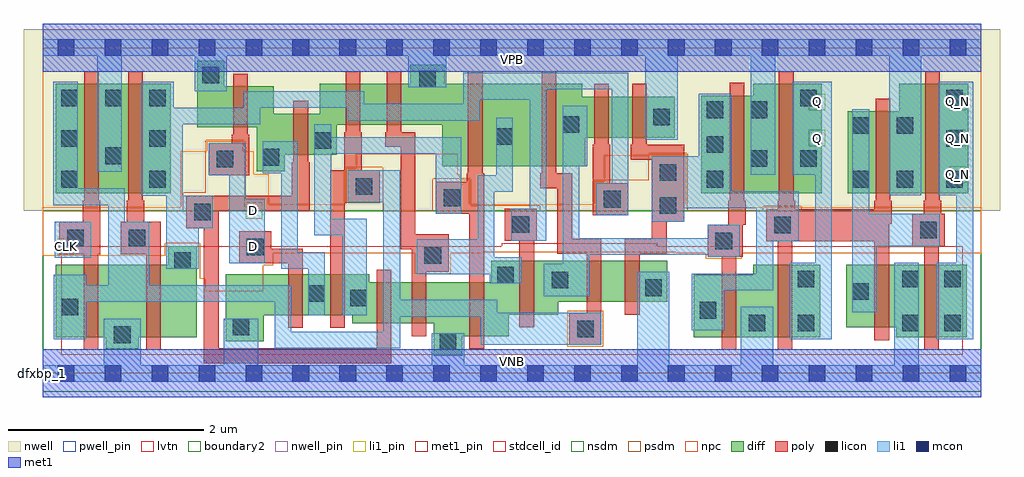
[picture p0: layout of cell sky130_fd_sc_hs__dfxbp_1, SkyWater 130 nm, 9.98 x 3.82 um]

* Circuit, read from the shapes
.subckt sky130_fd_sc_hs__dfxbp_1 CLK D Q Q_N VGND VNB VPB VPWR
XM1 VGND CLK n1 VNB sky130_fd_pr__nfet_01v8_lvt w=0.74 l=0.15
XM2 n2 n1 VGND VNB sky130_fd_pr__nfet_01v8_lvt w=0.74 l=0.15
XM3 n3 D VGND VNB sky130_fd_pr__nfet_01v8_lvt w=0.42 l=0.15
XM4 n4 n1 n3 VNB sky130_fd_pr__nfet_01v8_lvt w=0.42 l=0.15
XM5 n5 n2 n4 VNB sky130_fd_pr__nfet_01v8_lvt w=0.42 l=0.15
XM6 VGND n6 n5 VNB sky130_fd_pr__nfet_01v8_lvt w=0.42 l=0.15
XM7 n6 n4 VGND VNB sky130_fd_pr__nfet_01v8_lvt w=0.55 l=0.15
XM8 n7 n2 n6 VNB sky130_fd_pr__nfet_01v8_lvt w=0.55 l=0.15
XM9 n8 n1 n7 VNB sky130_fd_pr__nfet_01v8_lvt w=0.42 l=0.15
XM10 VGND n9 n8 VNB sky130_fd_pr__nfet_01v8_lvt w=0.42 l=0.15
XM11 VGND n7 n9 VNB sky130_fd_pr__nfet_01v8_lvt w=0.64 l=0.15
XM12 Q n9 VGND VNB sky130_fd_pr__nfet_01v8_lvt w=0.74 l=0.15
XM13 VGND n9 n10 VNB sky130_fd_pr__nfet_01v8_lvt w=0.64 l=0.15
XM14 Q_N n10 VGND VNB sky130_fd_pr__nfet_01v8_lvt w=0.74 l=0.15
XM15 VPWR CLK n1 VPB sky130_fd_pr__pfet_01v8 w=1.12 l=0.15
XM16 n2 n1 VPWR VPB sky130_fd_pr__pfet_01v8 w=1.12 l=0.15
XM17 n3 D VPWR VPB sky130_fd_pr__pfet_01v8 w=0.42 l=0.15
XM18 n4 n2 n3 VPB sky130_fd_pr__pfet_01v8 w=0.42 l=0.15
XM19 n11 n1 n4 VPB sky130_fd_pr__pfet_01v8 w=0.42 l=0.15
XM20 VPWR n6 n11 VPB sky130_fd_pr__pfet_01v8 w=0.42 l=0.15
XM21 n6 n4 VPWR VPB sky130_fd_pr__pfet_01v8 w=0.84 l=0.15
XM22 n7 n1 n6 VPB sky130_fd_pr__pfet_01v8 w=0.84 l=0.15
XM23 n12 n2 n7 VPB sky130_fd_pr__pfet_01v8 w=0.42 l=0.15
XM24 VPWR n9 n12 VPB sky130_fd_pr__pfet_01v8 w=0.42 l=0.15
XM25 VPWR n7 n9 VPB sky130_fd_pr__pfet_01v8 w=1 l=0.15
XM26 Q n9 VPWR VPB sky130_fd_pr__pfet_01v8 w=1.12 l=0.15
XM27 VPWR n9 n10 VPB sky130_fd_pr__pfet_01v8 w=0.84 l=0.15
XM28 Q_N n10 VPWR VPB sky130_fd_pr__pfet_01v8 w=1.12 l=0.15
.ends

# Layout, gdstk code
import gdstk
lib = gdstk.Library(unit=1e-6, precision=1e-09)
def R(c, l, rs):  # rectangles x0, y0, x1, y1
    for r in rs: c.add(gdstk.rectangle(r[:2], r[2:], *l))
def A(c, l, x, y, w, h, nx, ny, dx, dy):  # array of equal rectangles
    R(c, l, [(x+i*dx, y+j*dy, x+i*dx+w, y+j*dy+h) for i in range(nx) for j in range(ny)])
def P(c, l, *ps):  # polygons
    for p in ps: c.add(gdstk.Polygon(p, *l))
nwell_pin = (64, 16)
nwell = (64, 20)
diff = (65, 20)
poly = (66, 20)
licon = (66, 44)
li1_pin = (67, 16)
li1 = (67, 20)
mcon = (67, 44)
met1_pin = (68, 16)
met1 = (68, 20)
stdcell_id = (81, 4)
nsdm = (93, 44)
psdm = (94, 20)
npc = (95, 20)
pwell_pin = (122, 16)
lvtn = (125, 44)
boundary2 = (236, 0)

sky130_fd_sc_hs__dfxbp_1 = lib.new_cell('sky130_fd_sc_hs__dfxbp_1')
R(sky130_fd_sc_hs__dfxbp_1, nwell_pin, [(0,3.085,9.6,3.33)])
R(sky130_fd_sc_hs__dfxbp_1, nwell, [(-0.19,1.66,9.79,3.52)])
R(sky130_fd_sc_hs__dfxbp_1, diff, [(0.135,1.84,1.31,2.96)])
P(sky130_fd_sc_hs__dfxbp_1, diff, [(1.575,1.3),(1.285,1.3),(1.285,1.11),(0.135,1.11),(0.135,0.37),(0.645,0.37),(0.645,0.25),(0.985,0.25),(0.985,0.37),(1.575,0.37)],
  [(6.39,1.15),(4.59,1.15),(4.59,0.93),(3.34,0.93),(3.34,1.015),(1.875,1.015),(1.875,0.33),(2.26,0.33),(2.26,0.595),(3.165,0.595),(3.165,0.51),(4,0.51),(4,0.18),(4.29,0.18),(4.29,0.38),(4.765,0.38),(4.765,0.6),(5.275,0.6),(5.275,0.73),(6.39,0.73)],
  [(6.465,2.83),(5.52,2.83),(5.52,2.96),(4.11,2.96),(4.11,3.155),(3.76,3.155),(3.76,2.96),(2.835,2.96),(2.835,2.655),(2.365,2.655),(2.365,2.935),(1.86,2.935),(1.86,3.195),(1.58,3.195),(1.58,2.515),(2.19,2.515),(2.19,2.065),(2.475,2.065),(2.475,2.235),(3.01,2.235),(3.01,2.54),(4.085,2.54),(4.085,2.12),(5.55,2.12),(5.55,2.41),(6.465,2.41)],
  [(7.95,1.11),(7.265,1.11),(7.265,1.01),(6.66,1.01),(6.66,0.37),(7.95,0.37)],
  [(7.965,2.96),(7.265,2.96),(7.265,2.84),(6.735,2.84),(6.735,1.84),(7.965,1.84)],
  [(9.45,1.11),(8.22,1.11),(8.22,0.47),(8.73,0.47),(8.73,0.37),(9.45,0.37)],
  [(9.465,2.96),(8.76,2.96),(8.76,2.68),(8.235,2.68),(8.235,1.84),(9.465,1.84)])
P(sky130_fd_sc_hs__dfxbp_1, poly, [(5.99,1.945),(5.805,1.945),(5.805,2.335),(5.79,2.335),(5.79,2.96),(5.64,2.96),(5.64,2.335),(5.625,2.335),(5.625,1.615),(5.99,1.615)],
  [(6.56,2.335),(6.18,2.335),(6.18,2.96),(6.03,2.96),(6.03,2.335),(6.015,2.335),(6.015,2.185),(6.23,2.185),(6.23,1.375),(5.955,1.375),(5.955,0.6),(6.105,0.6),(6.105,1.225),(6.38,1.225),(6.38,1.55),(6.56,1.55)],
  [(7.19,1.765),(7.175,1.765),(7.175,2.97),(7.025,2.97),(7.025,1.765),(7.01,1.765),(7.01,1.52),(6.8,1.52),(6.8,1.19),(6.945,1.19),(6.945,0.24),(7.095,0.24),(7.095,1.19),(7.16,1.19),(7.16,1.52),(7.19,1.52)],
  [(8.685,1.765),(8.67,1.765),(8.67,2.81),(8.52,2.81),(8.52,1.765),(8.505,1.765),(8.505,1.68),(7.695,1.68),(7.695,1.765),(7.68,1.765),(7.68,3.09),(7.53,3.09),(7.53,1.765),(7.515,1.765),(7.515,1.68),(7.4,1.68),(7.4,1.35),(7.515,1.35),(7.515,0.24),(7.665,0.24),(7.665,1.35),(8.505,1.35),(8.505,0.34),(8.655,0.34),(8.655,1.53),(8.685,1.53)],
  [(9.225,1.63),(9.19,1.63),(9.19,1.765),(9.175,1.765),(9.175,3.09),(9.025,3.09),(9.025,1.765),(9.01,1.765),(9.01,1.63),(8.895,1.63),(8.895,1.3),(9.015,1.3),(9.015,0.24),(9.165,0.24),(9.165,1.3),(9.225,1.3)],
  [(0.59,1.765),(0.575,1.765),(0.575,3.09),(0.425,3.09),(0.425,1.765),(0.41,1.765),(0.41,1.55),(0.17,1.55),(0.17,1.22),(0.42,1.22),(0.42,0.24),(0.57,0.24),(0.57,1.22),(0.59,1.22)],
  [(1.21,1.55),(1.04,1.55),(1.04,1.765),(1.025,1.765),(1.025,3.09),(0.875,3.09),(0.875,1.765),(0.86,1.765),(0.86,1.55),(0.8,1.55),(0.8,1.22),(1.06,1.22),(1.06,0.24),(1.21,0.24)],
  [(2.115,2.44),(2.1,2.44),(2.1,3.065),(1.95,3.065),(1.95,2.44),(1.935,2.44),(1.935,2.355),(1.7,2.355),(1.7,2.025),(2.115,2.025)],
  [(2.66,1.275),(2.34,1.275),(2.34,1.455),(2.01,1.455),(2.01,1.125),(2.51,1.125),(2.51,0.465),(2.66,0.465)],
  [(3.45,2.075),(3.265,2.075),(3.265,2.465),(3.25,2.465),(3.25,3.09),(3.1,3.09),(3.1,2.465),(3.085,2.465),(3.085,2.075),(2.94,2.075),(2.94,0.465),(3.09,0.465),(3.09,1.745),(3.45,1.745)],
  [(3.565,1.06),(3.415,1.06),(3.415,0.255),(1.8,0.255),(1.8,1.665),(2.73,1.665),(2.73,2.16),(2.715,2.16),(2.715,2.785),(2.565,2.785),(2.565,2.16),(2.55,2.16),(2.55,1.815),(1.47,1.815),(1.47,1.485),(1.65,1.485),(1.65,0.105),(3.565,0.105)],
  [(4.155,1.42),(3.81,1.42),(3.81,2.465),(3.67,2.465),(3.67,3.09),(3.52,3.09),(3.52,2.465),(3.505,2.465),(3.505,2.315),(3.66,2.315),(3.66,1.27),(3.775,1.27),(3.775,0.38),(3.925,0.38),(3.925,1.04),(4.155,1.04)],
  [(4.515,2.045),(4.5,2.045),(4.5,3.09),(4.35,3.09),(4.35,2.045),(4.335,2.045),(4.335,1.96),(4.02,1.96),(4.02,1.63),(4.365,1.63),(4.365,0.25),(4.515,0.25)],
  [(5.055,1.685),(4.725,1.685),(4.725,1.355),(4.875,1.355),(4.875,0.47),(5.025,0.47),(5.025,1.355),(5.055,1.355)],
  [(5.715,1.375),(5.415,1.375),(5.415,2.045),(5.255,2.045),(5.255,3.09),(5.105,3.09),(5.105,2.045),(5.09,2.045),(5.09,1.895),(5.265,1.895),(5.265,1.225),(5.565,1.225),(5.565,0.62),(5.385,0.62),(5.385,0.29),(5.715,0.29)])
A(sky130_fd_sc_hs__dfxbp_1, licon, 6.79, 1.9, 0.17, 0.17, 1, 3, 0, 0.355)
A(sky130_fd_sc_hs__dfxbp_1, licon, 9.24, 1.9, 0.17, 0.17, 1, 3, 0, 0.415)
A(sky130_fd_sc_hs__dfxbp_1, licon, 0.19, 2.73, 0.17, 0.17, 3, 1, 0.45, 0)
R(sky130_fd_sc_hs__dfxbp_1, licon, [(4.06,0.24,4.23,0.41), (0.73,0.31,0.9,0.48), (5.465,0.37,5.635,0.54), (1.945,0.39,2.115,0.56), (7.22,0.43,7.39,0.6), (7.72,0.43,7.89,0.6), (8.79,0.43,8.96,0.6), (9.22,0.43,9.39,0.6), (6.72,0.56,6.89,0.73), (0.195,0.595,0.365,0.765), (3.145,0.685,3.315,0.855), (2.715,0.73,2.885,0.9), (8.28,0.75,8.45,0.92), (6.16,0.79,6.33,0.96), (5.205,0.87,5.375,1.04), (7.72,0.88,7.89,1.05), (8.79,0.88,8.96,1.05), (9.22,0.88,9.39,1.05), (4.65,0.92,4.82,1.09), (1.345,1.07,1.515,1.24), (3.905,1.12,4.075,1.29), (2.09,1.205,2.26,1.375), (6.88,1.27,7.05,1.44), (0.25,1.3,0.42,1.47), (0.88,1.3,1.05,1.47), (8.975,1.38,9.145,1.55), (7.48,1.43,7.65,1.6), (4.805,1.435,4.975,1.605), (1.55,1.565,1.72,1.735), (6.31,1.63,6.48,1.8), (5.74,1.695,5.91,1.865), (4.1,1.71,4.27,1.88), (3.2,1.825,3.37,1.995), (0.19,1.9,0.36,2.07), (1.09,1.9,1.26,2.07), (8.285,1.9,8.455,2.07), (8.735,1.9,8.905,2.07), (6.31,1.97,6.48,2.14), (1.78,2.105,1.95,2.275), (7.24,2.11,7.41,2.28), (7.745,2.11,7.915,2.28), (2.25,2.125,2.42,2.295), (0.64,2.14,0.81,2.31), (2.78,2.295,2.95,2.465), (0.19,2.315,0.36,2.485), (1.09,2.315,1.26,2.485), (4.64,2.335,4.81,2.505), (8.285,2.45,8.455,2.62), (8.735,2.45,8.905,2.62), (5.32,2.46,5.49,2.63), (6.245,2.535,6.415,2.705), (7.24,2.61,7.41,2.78), (7.745,2.73,7.915,2.9), (3.85,2.925,4.02,3.095), (1.635,2.965,1.805,3.135)])
A(sky130_fd_sc_hs__dfxbp_1, li1_pin, 9.275, 1.95, 0.17, 0.17, 1, 3, 0, 0.37)
R(sky130_fd_sc_hs__dfxbp_1, li1_pin, [(0.155,1.21,0.325,1.38), (2.075,1.21,2.245,1.38), (2.075,1.58,2.245,1.75), (7.835,2.32,8.005,2.49), (7.835,2.69,8.005,2.86)])
R(sky130_fd_sc_hs__dfxbp_1, li1, [(0.125,1.18,0.5,1.55)])
P(sky130_fd_sc_hs__dfxbp_1, li1, [(0,-0.085),(0,0.085),(0.625,0.085),(0.625,0.56),(1.005,0.56),(1.005,0.085),(1.855,0.085),(1.855,0.56),(2.205,0.56),(2.205,0.085),(3.98,0.085),(3.98,0.41),(4.31,0.41),(4.31,0.085),(6.08,0.085),(6.08,1.04),(6.41,1.04),(6.41,0.085),(7.14,0.085),(7.14,0.68),(7.47,0.68),(7.47,0.085),(8.71,0.085),(8.71,1.13),(8.96,1.13),(8.96,0.085),(9.6,0.085),(9.6,-0.085)],
  [(0,3.245),(0,3.415),(9.6,3.415),(9.6,3.245),(8.985,3.245),(8.985,1.82),(8.655,1.82),(8.655,3.245),(7.49,3.245),(7.49,2.03),(7.24,2.03),(7.24,3.245),(6.495,3.245),(6.495,2.39),(6.165,2.39),(6.165,3.245),(4.13,3.245),(4.13,2.925),(3.74,2.925),(3.74,3.245),(1.885,3.245),(1.885,2.885),(1.555,2.885),(1.555,3.245),(0.81,3.245),(0.81,2.06),(0.56,2.06),(0.56,3.245)],
  [(2.08,1.78),(2.27,1.78),(2.27,1.125),(1.91,1.125),(1.91,2.025),(1.7,2.025),(1.7,2.355),(2.08,2.355)],
  [(7.665,2.03),(7.665,2.98),(8.07,2.98),(8.07,0.35),(7.64,0.35),(7.64,1.13),(7.9,1.13),(7.9,2.03)],
  [(9.16,1.82),(9.16,2.98),(9.515,2.98),(9.515,0.35),(9.14,0.35),(9.14,1.13),(9.345,1.13),(9.345,1.82)],
  [(1.01,1.815),(1.01,2.98),(1.34,2.98),(1.34,2.715),(2.055,2.715),(2.055,2.885),(3.29,2.885),(3.29,2.755),(4.3,2.755),(4.3,3.075),(5.99,3.075),(5.99,1.615),(5.66,1.615),(5.66,1.945),(5.82,1.945),(5.82,2.905),(5.15,2.905),(5.15,1.355),(4.79,1.355),(4.79,1.685),(4.98,1.685),(4.98,2.8),(4.47,2.8),(4.47,2.585),(3.12,2.585),(3.12,2.715),(2.225,2.715),(2.225,2.545),(1.435,2.545),(1.435,1.815),(1.74,1.815),(1.74,1.485),(1.595,1.485),(1.595,1.07),(1.265,1.07),(1.265,1.815)],
  [(2.95,2.415),(4.28,2.415),(4.28,1.63),(4.02,1.63),(4.02,2.245),(2.95,2.245),(2.95,1.58),(3.315,1.58),(3.315,0.595),(3.065,0.595),(3.065,1.41),(2.78,1.41),(2.78,2.545),(2.95,2.545)],
  [(5.715,0.62),(4.65,0.62),(4.65,0.75),(3.655,0.75),(3.655,2.075),(3.12,2.075),(3.12,1.75),(3.485,1.75),(3.485,0.425),(2.545,0.425),(2.545,0.9),(1.09,0.9),(1.09,1.55),(0.84,1.55),(0.84,1.89),(0.36,1.89),(0.36,2.98),(0.11,2.98),(0.11,1.72),(0.67,1.72),(0.67,0.9),(0.445,0.9),(0.445,1.01),(0.115,1.01),(0.115,0.35),(0.445,0.35),(0.445,0.73),(2.375,0.73),(2.375,0.255),(3.655,0.255),(3.655,0.58),(4.48,0.58),(4.48,0.29),(5.715,0.29)],
  [(8.28,0.625),(8.28,2.7),(8.455,2.7),(8.455,1.63),(9.175,1.63),(9.175,1.3),(8.53,1.3),(8.53,0.625)],
  [(7.47,0.85),(6.97,0.85),(6.97,0.44),(6.64,0.44),(6.64,1.02),(7.3,1.02),(7.3,1.69),(6.56,1.69),(6.56,1.55),(6.23,1.55),(6.23,2.22),(6.71,2.22),(6.71,2.86),(7.04,2.86),(7.04,1.86),(7.73,1.86),(7.73,1.35),(7.47,1.35)],
  [(5.32,1.12),(5.32,2.735),(5.57,2.735),(5.57,2.115),(5.49,2.115),(5.49,1.38),(6.8,1.38),(6.8,1.52),(7.13,1.52),(7.13,1.19),(6.8,1.19),(6.8,1.21),(5.59,1.21),(5.59,0.79),(5.125,0.79),(5.125,1.12)],
  [(2.44,2.045),(2.25,2.045),(2.25,2.375),(2.61,2.375),(2.61,1.24),(2.885,1.24),(2.885,0.595),(2.715,0.595),(2.715,1.07),(2.44,1.07)],
  [(3.825,1.015),(3.825,1.37),(4.45,1.37),(4.45,2.025),(4.64,2.025),(4.64,2.615),(4.81,2.615),(4.81,1.855),(4.62,1.855),(4.62,1.185),(4.9,1.185),(4.9,0.92),(4.57,0.92),(4.57,1.015)])
A(sky130_fd_sc_hs__dfxbp_1, mcon, 0.155, -0.085, 0.17, 0.17, 20, 2, 0.48, 3.33)
R(sky130_fd_sc_hs__dfxbp_1, met1_pin, [(0,0,9.6,0.245), (0,3.085,9.6,3.33)])
R(sky130_fd_sc_hs__dfxbp_1, met1, [(0,-0.245,9.6,0.245), (0,3.085,9.6,3.575)])
R(sky130_fd_sc_hs__dfxbp_1, stdcell_id, [(0,0,9.6,3.33)])
R(sky130_fd_sc_hs__dfxbp_1, nsdm, [(0,-0.19,9.6,1.66)])
P(sky130_fd_sc_hs__dfxbp_1, psdm, [(9.6,3.52),(0,3.52),(0,1.66),(1.44,1.66),(1.44,1.845),(1.67,1.845),(1.67,2.385),(2.06,2.385),(2.06,1.66),(3.09,1.66),(3.09,2.105),(3.48,2.105),(3.48,1.66),(3.99,1.66),(3.99,1.99),(4.38,1.99),(4.38,1.715),(5.085,1.715),(5.085,1.66),(5.63,1.66),(5.63,1.975),(6.2,1.975),(6.2,2.25),(6.59,2.25),(6.59,1.66),(7.37,1.66),(7.37,1.71),(7.76,1.71),(7.76,1.66),(9.6,1.66)])
R(sky130_fd_sc_hs__dfxbp_1, npc, [(5.365,0.27,5.735,0.64)])
P(sky130_fd_sc_hs__dfxbp_1, npc, [(9.6,1.7),(6.595,1.7),(6.595,1.73),(6.58,1.73),(6.58,2.24),(6.21,2.24),(6.21,2.23),(5.745,2.23),(5.745,1.965),(5.64,1.965),(5.64,1.73),(4.37,1.73),(4.37,1.98),(4.265,1.98),(4.265,2.03),(4.245,2.03),(4.245,2.245),(3.205,2.245),(3.205,2.095),(3.1,2.095),(3.1,1.73),(2.315,1.73),(2.315,2.035),(2.16,2.035),(2.16,2.27),(2.05,2.27),(2.05,2.375),(1.68,2.375),(1.68,2.27),(1.415,2.27),(1.415,1.7),(0,1.7),(0,1.2),(1.255,1.2),(1.255,1.33),(1.605,1.33),(1.605,0.965),(1.665,0.965),(1.665,0.84),(2.255,0.84),(2.255,1.105),(2.36,1.105),(2.36,1.23),(3.805,1.23),(3.805,1.02),(4.175,1.02),(4.175,1.23),(4.5,1.23),(4.5,1.24),(6.48,1.24),(6.48,1.23),(6.78,1.23),(6.78,1.17),(7.15,1.17),(7.15,1.23),(9.6,1.23)])
R(sky130_fd_sc_hs__dfxbp_1, pwell_pin, [(0,0,9.6,0.245)])
P(sky130_fd_sc_hs__dfxbp_1, lvtn, [(9.41,1.3),(6.285,1.3),(6.285,1.33),(4.695,1.33),(4.695,1.3),(0.19,1.3),(0.19,0.19),(9.41,0.19)])
R(sky130_fd_sc_hs__dfxbp_1, boundary2, [(0,0,9.6,3.33)])
sky130_fd_sc_hs__dfxbp_1.add(gdstk.Label('dfxbp_1', (0,0), layer=83, texttype=44))
sky130_fd_sc_hs__dfxbp_1.add(gdstk.Label('VNB', (4.8,0.123), layer=64, texttype=59))
sky130_fd_sc_hs__dfxbp_1.add(gdstk.Label('VPB', (4.8,3.208), layer=64, texttype=5))
sky130_fd_sc_hs__dfxbp_1.add(gdstk.Label('VPWR', (4.8,3.208), layer=68, texttype=5))
sky130_fd_sc_hs__dfxbp_1.add(gdstk.Label('VGND', (4.8,0.123), layer=68, texttype=5))
sky130_fd_sc_hs__dfxbp_1.add(gdstk.Label('D', (2.16,1.295), layer=67, texttype=5))
sky130_fd_sc_hs__dfxbp_1.add(gdstk.Label('D', (2.16,1.665), layer=67, texttype=5))
sky130_fd_sc_hs__dfxbp_1.add(gdstk.Label('CLK', (0.24,1.295), layer=67, texttype=5))
sky130_fd_sc_hs__dfxbp_1.add(gdstk.Label('Q', (7.92,2.405), layer=67, texttype=5))
sky130_fd_sc_hs__dfxbp_1.add(gdstk.Label('Q', (7.92,2.775), layer=67, texttype=5))
sky130_fd_sc_hs__dfxbp_1.add(gdstk.Label('Q_N', (9.36,2.035), layer=67, texttype=5))
sky130_fd_sc_hs__dfxbp_1.add(gdstk.Label('Q_N', (9.36,2.405), layer=67, texttype=5))
sky130_fd_sc_hs__dfxbp_1.add(gdstk.Label('Q_N', (9.36,2.775), layer=67, texttype=5))

lib.write_gds('sky130_fd_sc_hs__dfxbp_1.gds')
